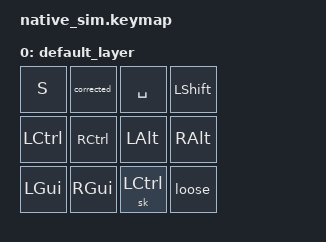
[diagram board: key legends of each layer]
#include <behaviors.dtsi>
#include <dt-bindings/zmk/keys.h>
#include <dt-bindings/zmk/kscan_mock.h>

/ {
    behaviors {
        corrected: corrected {
            compatible = "zmk,behavior-adaptive-key";
            #binding-cells = <0>;
            bindings = <&kp D>;
            input-key = <D>;

            swap {
                trigger-keys = <S LS(S) RS(S) LS(RS(S))>;
                bindings = <&kp C>;
                max-prior-idle-ms = <1000>;
                strict-modifiers;
                continue-swap;
                continue-shift;
                swap-key = <C>;
            };
        };

        loose: loose {
            compatible = "zmk,behavior-adaptive-key";
            #binding-cells = <0>;
            bindings = <&kp D>;

            swap {
                trigger-keys = <S>;
                bindings = <&kp C>;
                max-prior-idle-ms = <1000>;
            };
        };
    };

    keymap {
        compatible = "zmk,keymap";
        default_layer {
            bindings = <
                &kp S &corrected &kp SPACE &kp LSHFT
                &kp LCTRL &kp RCTRL &kp LALT &kp RALT
                &kp LGUI &kp RGUI &sk LCTRL &loose
            >;
        };
    };
};

&kscan {
    rows = <3>;
    columns = <4>;
    events = <
        ZMK_MOCK_PRESS(0,0,10) ZMK_MOCK_RELEASE(0,0,10)
        ZMK_MOCK_PRESS(0,1,10) ZMK_MOCK_RELEASE(0,1,10)
        ZMK_MOCK_PRESS(0,2,10) ZMK_MOCK_RELEASE(0,2,10)

        ZMK_MOCK_PRESS(0,0,10) ZMK_MOCK_RELEASE(0,0,10)
        ZMK_MOCK_PRESS(1,0,10)
        ZMK_MOCK_PRESS(0,1,10) ZMK_MOCK_RELEASE(0,1,10)
        ZMK_MOCK_RELEASE(1,0,10)
        ZMK_MOCK_PRESS(0,1,10) ZMK_MOCK_RELEASE(0,1,10)
        ZMK_MOCK_PRESS(0,2,10) ZMK_MOCK_RELEASE(0,2,10)

        ZMK_MOCK_PRESS(0,0,10) ZMK_MOCK_RELEASE(0,0,10)
        ZMK_MOCK_PRESS(1,1,10)
        ZMK_MOCK_PRESS(0,1,10) ZMK_MOCK_RELEASE(0,1,10)
        ZMK_MOCK_RELEASE(1,1,10)
        ZMK_MOCK_PRESS(0,1,10) ZMK_MOCK_RELEASE(0,1,10)
        ZMK_MOCK_PRESS(0,2,10) ZMK_MOCK_RELEASE(0,2,10)

        ZMK_MOCK_PRESS(0,0,10) ZMK_MOCK_RELEASE(0,0,10)
        ZMK_MOCK_PRESS(1,2,10)
        ZMK_MOCK_PRESS(0,1,10) ZMK_MOCK_RELEASE(0,1,10)
        ZMK_MOCK_RELEASE(1,2,10)
        ZMK_MOCK_PRESS(0,1,10) ZMK_MOCK_RELEASE(0,1,10)
        ZMK_MOCK_PRESS(0,2,10) ZMK_MOCK_RELEASE(0,2,10)

        ZMK_MOCK_PRESS(0,0,10) ZMK_MOCK_RELEASE(0,0,10)
        ZMK_MOCK_PRESS(1,3,10)
        ZMK_MOCK_PRESS(0,1,10) ZMK_MOCK_RELEASE(0,1,10)
        ZMK_MOCK_RELEASE(1,3,10)
        ZMK_MOCK_PRESS(0,1,10) ZMK_MOCK_RELEASE(0,1,10)
        ZMK_MOCK_PRESS(0,2,10) ZMK_MOCK_RELEASE(0,2,10)

        ZMK_MOCK_PRESS(0,0,10) ZMK_MOCK_RELEASE(0,0,10)
        ZMK_MOCK_PRESS(2,0,10)
        ZMK_MOCK_PRESS(0,1,10) ZMK_MOCK_RELEASE(0,1,10)
        ZMK_MOCK_RELEASE(2,0,10)
        ZMK_MOCK_PRESS(0,1,10) ZMK_MOCK_RELEASE(0,1,10)
        ZMK_MOCK_PRESS(0,2,10) ZMK_MOCK_RELEASE(0,2,10)

        ZMK_MOCK_PRESS(0,0,10) ZMK_MOCK_RELEASE(0,0,10)
        ZMK_MOCK_PRESS(2,1,10)
        ZMK_MOCK_PRESS(0,1,10) ZMK_MOCK_RELEASE(0,1,10)
        ZMK_MOCK_RELEASE(2,1,10)
        ZMK_MOCK_PRESS(0,1,10) ZMK_MOCK_RELEASE(0,1,10)
        ZMK_MOCK_PRESS(0,2,10) ZMK_MOCK_RELEASE(0,2,10)

        ZMK_MOCK_PRESS(0,3,10)
        ZMK_MOCK_PRESS(0,0,10) ZMK_MOCK_RELEASE(0,0,10)
        ZMK_MOCK_PRESS(0,1,10) ZMK_MOCK_RELEASE(0,1,10)
        ZMK_MOCK_RELEASE(0,3,10)
        ZMK_MOCK_PRESS(0,2,10) ZMK_MOCK_RELEASE(0,2,10)

        ZMK_MOCK_PRESS(0,0,10) ZMK_MOCK_RELEASE(0,0,10)
        ZMK_MOCK_PRESS(2,2,10) ZMK_MOCK_RELEASE(2,2,10)
        ZMK_MOCK_PRESS(0,1,10) ZMK_MOCK_RELEASE(0,1,10)
        ZMK_MOCK_PRESS(0,2,10) ZMK_MOCK_RELEASE(0,2,10)

        ZMK_MOCK_PRESS(0,0,10) ZMK_MOCK_RELEASE(0,0,10)
        ZMK_MOCK_PRESS(1,0,10)
        ZMK_MOCK_PRESS(2,3,10) ZMK_MOCK_RELEASE(2,3,10)
        ZMK_MOCK_RELEASE(1,0,10)
    >;
};
